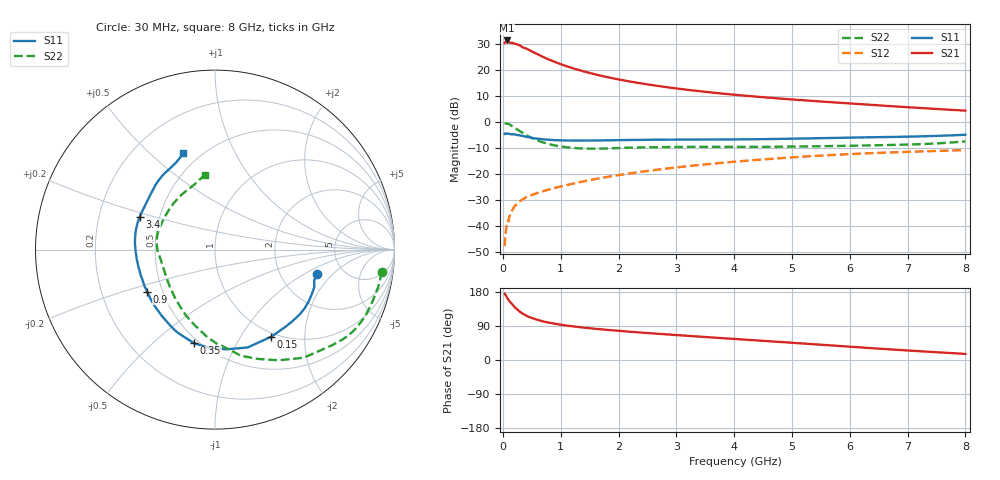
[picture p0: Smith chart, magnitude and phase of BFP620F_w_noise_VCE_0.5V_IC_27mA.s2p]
! Infineon Technologies  Discrete & RF Semiconductors
! BFP620F
! VCE =  0.5 V,  IC =  27 mA
! Common Emitter S-Parameters:  Dec 2014
# GHz  S  MA  R  50
!  f  S11  S21  S12  S22
! GHz  MAG  ANG  MAG  ANG  MAG  ANG  MAG  ANG
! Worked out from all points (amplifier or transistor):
!   95 points, 30 MHz to 8 GHz, reference 50 ohm
!   highest |S21| = 31.2 dB at 70 MHz (marker M1)
!   |S21| within 3 dB of that: start of sweep to 391.5 MHz
!   unconditionally stable (mu >= 1): 2.35 GHz to end of sweep
!   at 300 MHz: K = 0.32, MSG = 29.8 dB, |S12| = -30.4 dB
!   at 3.3 GHz: K = 1.03, MAG = 13.4 dB, |S12| = -16.8 dB
!   at 8 GHz: K = 1.07, MAG = 6.0 dB, |S12| = -10.9 dB
!   lowest NFmin = 1.05 dB at 450 MHz
!   S11 on the Smith chart (normalised r, x): 30 MHz: 3.23, -1.33; 150 MHz: 0.94, -1.37; 350 MHz: 0.47, -0.69; 900 MHz: 0.41, -0.24; 3.4 GHz: 0.39, +0.18; 8 GHz: 0.41, +0.64
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0.03  0.5855 -13.3  32.46 174.6  0.0041 83.1  0.9365 -7.6
0.05  0.5915 -20.7  34.99 171.1  0.0078 87.7  0.9326 -13.1
0.07  0.5964 -28.8  36.5 165.4  0.0105 81.3  0.9235 -18.5
0.09  0.5951 -36.5  35.63 160.2  0.0127 81.3  0.9149 -24.1
0.12  0.582 -47.8  33.15 154.2  0.0159 73.0  0.8853 -32.5
0.15  0.577 -57.5  33.17 149.1  0.019 71.9  0.8399 -39.6
0.2  0.5749 -71.6  31.68 140.2  0.0237 64.0  0.7788 -50.7
0.25  0.5589 -83.8  30.62 133.2  0.0268 61.4  0.7109 -60.2
0.3  0.5474 -93.8  29.09 126.6  0.0303 58.4  0.6541 -68.6
0.35  0.535 -102.5  26.71 121.6  0.0329 56.7  0.6083 -76.4
0.45  0.5069 -114.6  24.07 113.7  0.0374 54.7  0.5242 -88.9
0.6  0.4734 -128.8  19.87 105.9  0.0432 54.1  0.436 -105.1
0.7  0.4606 -136.4  17.51 101.7  0.0467 53.9  0.401 -113.8
0.9  0.4445 -148.3  14.1 95.7  0.0537 54.7  0.3518 -128.7
1.4  0.4378 -167.7  9.291 85.5  0.0721 56.0  0.3071 -155.8
2  0.4448 177.9  6.528 77.1  0.095 55.6  0.313 -175.0
2.7  0.454 166.1  4.854 69.0  0.1216 53.1  0.3264 173.7
3.4  0.457 156.4  3.877 61.7  0.1485 49.4  0.3317 165.6
4.1  0.4607 147.8  3.241 54.6  0.1748 45.1  0.3307 157.5
5.4  0.4836 134.8  2.503 41.3  0.2214 35.4  0.3389 139.1
6.7  0.5119 121.7  2.005 28.0  0.258 24.9  0.3594 119.9
8  0.5652 108.5  1.639 16.0  0.286 14.8  0.4201 97.8
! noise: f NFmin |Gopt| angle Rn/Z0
0.45  1.05  0.02  -178  0.19
0.9  1.09  0.03  -171  0.15
1.5  1.1  0.05  -151  0.16
1.8  1.12  0.06  -148  0.17
1.9  1.12  0.07  -148  0.16
2.4  1.14  0.08  -147  0.16
3.5  1.21  0.11  -143  0.17
5.5  1.36  0.19  238  0.12
6  1.4  0.2  259  0.15
